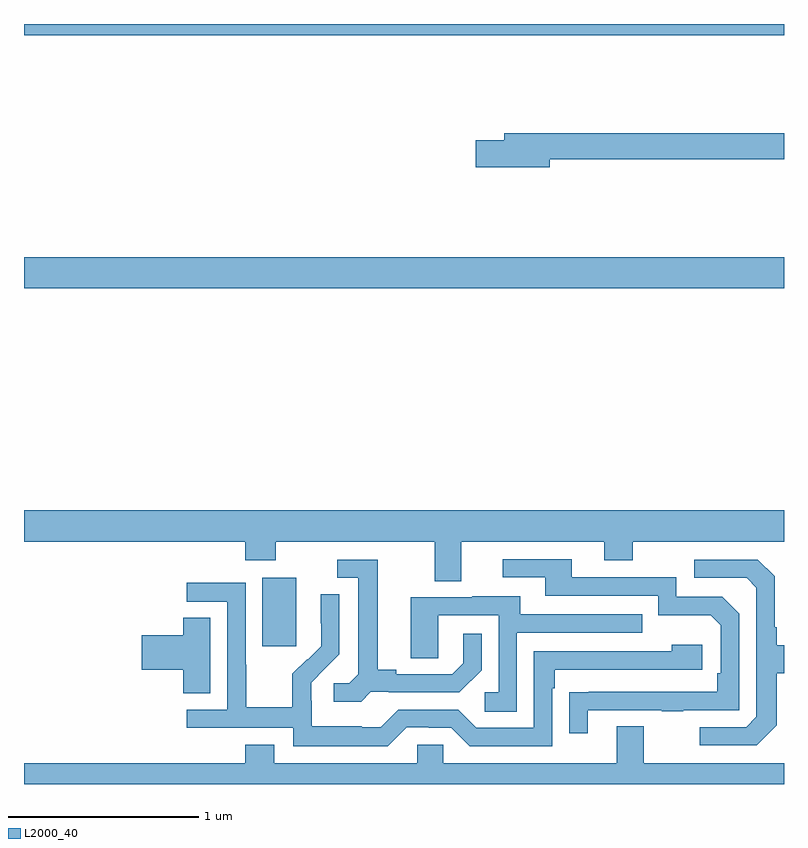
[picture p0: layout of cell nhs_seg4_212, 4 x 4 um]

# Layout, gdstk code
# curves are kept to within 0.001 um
import gdstk
lib = gdstk.Library(unit=1e-6, precision=1e-09)
def R(c, l, rs):  # rectangles x0, y0, x1, y1
    for r in rs: c.add(gdstk.rectangle(r[:2], r[2:], *l))
def P(c, l, *ps):  # polygons
    for p in ps: c.add(gdstk.Polygon(p, *l))
L2000_40 = (2000, 40)

nhs_seg4_212 = lib.new_cell('nhs_seg4_212')
R(nhs_seg4_212, L2000_40, [(122.255,773.625,122.434,773.986), (121,775.508,125,775.672), (121,776.84,125,776.9)])
P(nhs_seg4_212, L2000_40, [(123.766,776.188),(125,776.188),(125,776.324),(123.527,776.324),(123.527,776.288),(123.378,776.288),(123.378,776.146),(123.766,776.146)],
  [(123.301,774.176),(124.055,774.176),(124.055,774.077),(124.203,774.077),(124.203,774.176),(125,774.176),(125,774.34),(121,774.34),(121,774.176),(122.165,774.176),(122.165,774.077),(122.325,774.077),(122.325,774.176),(123.161,774.176),(123.161,773.968),(123.301,773.968)],
  [(123.967,773.289),(124.357,773.289),(124.357,773.284),(124.469,773.284),(124.469,773.289),(124.764,773.289),(124.764,773.796),(124.674,773.886),(124.434,773.886),(124.434,773.988),(123.883,773.988),(123.883,774.084),(123.519,774.084),(123.519,773.988),(123.743,773.988),(123.743,773.892),(124.338,773.892),(124.338,773.789),(124.615,773.789),(124.668,773.736),(124.668,773.482),(124.648,773.482),(124.648,773.385),(123.871,773.384),(123.871,773.166),(123.967,773.166)],
  [(124.963,773.209),(124.963,773.482),(125,773.482),(125,773.629),(124.963,773.629),(124.963,773.725),(124.95,773.725),(124.95,773.994),(124.863,774.081),(124.527,774.081),(124.527,773.985),(124.803,773.985),(124.854,773.934),(124.854,773.253),(124.8,773.199),(124.557,773.199),(124.557,773.103),(124.857,773.103)],
  [(122.826,773.385),(122.92,773.385),(122.92,773.382),(123.292,773.382),(123.408,773.498),(123.408,773.692),(123.311,773.692),(123.311,773.535),(123.254,773.478),(122.959,773.478),(122.959,773.501),(122.863,773.501),(122.863,774.081),(122.649,774.081),(122.649,773.985),(122.759,773.985),(122.759,773.477),(122.712,773.43),(122.631,773.43),(122.631,773.333),(122.774,773.333)],
  [(123.015,773.199),(123.131,773.199),(123.131,773.196),(123.249,773.196),(123.345,773.1),(123.78,773.1),(123.78,773.405),(123.793,773.405),(123.793,773.502),(124.57,773.502),(124.57,773.632),(124.409,773.632),(124.409,773.598),(123.684,773.598),(123.684,773.196),(123.381,773.196),(123.285,773.292),(122.97,773.292),(122.877,773.199),(122.777,773.199),(122.777,773.203),(122.514,773.203),(122.514,773.337),(122.512,773.337),(122.512,773.434),(122.658,773.582),(122.658,773.9),(122.562,773.9),(122.562,773.746),(122.564,773.746),(122.564,773.624),(122.493,773.553),(122.49,773.556),(122.413,773.479),(122.413,773.305),(122.169,773.305),(122.169,773.528),(122.166,773.528),(122.166,773.958),(121.857,773.958),(121.857,773.859),(122.07,773.859),(122.07,773.292),(121.857,773.292),(121.857,773.196),(122.418,773.196),(122.418,773.099),(122.915,773.099)],
  [(123.594,773.697),(124.253,773.697),(124.253,773.793),(123.613,773.793),(123.613,773.887),(123.359,773.887),(123.359,773.883),(123.035,773.883),(123.035,773.563),(123.18,773.563),(123.18,773.787),(123.498,773.787),(123.498,773.382),(123.426,773.382),(123.426,773.281),(123.594,773.281)],
  [(121.981,773.774),(121.838,773.774),(121.838,773.684),(121.62,773.684),(121.62,773.501),(121.838,773.501),(121.838,773.377),(121.981,773.377)],
  [(123.069,773.106),(123.069,773.008),(122.317,773.008),(122.317,773.107),(122.165,773.107),(122.165,773.008),(121,773.008),(121,772.9),(125,772.9),(125,773.008),(124.261,773.008),(124.261,773.203),(124.121,773.203),(124.121,773.008),(123.207,773.008),(123.207,773.106)])

lib.write_gds('nhs_seg4_212.gds')
